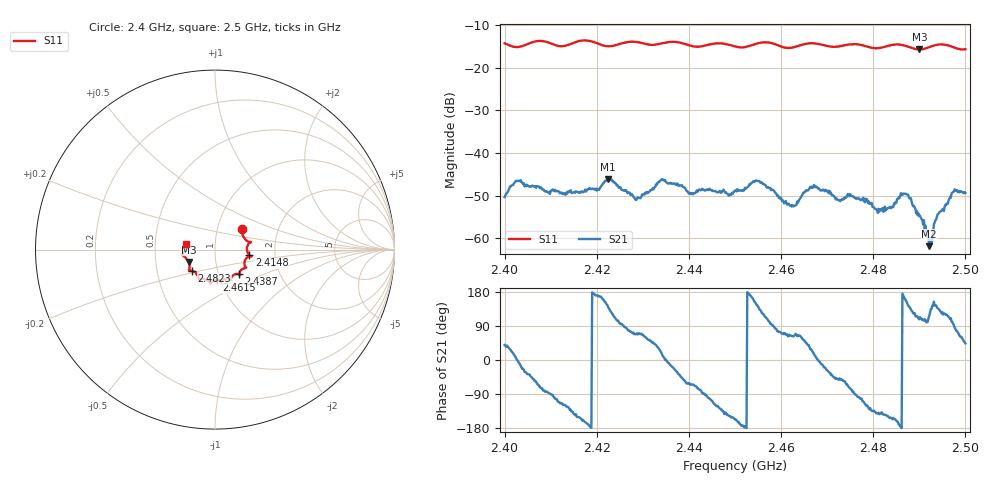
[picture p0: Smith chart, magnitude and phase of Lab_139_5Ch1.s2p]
# Hz S RI R 50
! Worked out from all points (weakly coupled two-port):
!   601 points, 2.4 GHz to 2.5 GHz, reference 50 ohm
!   highest |S21| = -46.10 dB at 2.4223 GHz (marker M1); lowest = -61.8 dB at 2.4922 GHz (marker M2)
!   lowest |S11| = -15.8 dB at 2.49 GHz (marker M3), VSWR 1.39, Z = 36.9 - j5.26 ohm
!   |S11| at or under -10 dB: start of sweep to end of sweep
!   S12 and S22 are empty: the file has one direction only
!   S11 on the Smith chart (normalised r, x): 2.4 GHz: 1.31, +0.32; 2.4148 GHz: 1.47, -0.10; 2.4387 GHz: 1.25, -0.36; 2.4615 GHz: 0.97, -0.34; 2.4823 GHz: 0.75, -0.18; 2.5 GHz: 0.72, +0.04
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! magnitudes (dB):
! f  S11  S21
! 2.4 GHz  -14.3  -50.3
! 2.403 GHz  -15.2  -46.5
! 2.4148 GHz  -14.3  -49.3
! 2.4167 GHz  -13.7  -48.9
! 2.4223 GHz  -15.0  -46.1
! 2.4288 GHz  -14.0  -50.4
! 2.4333 GHz  -14.5  -46.8
! 2.4387 GHz  -14.3  -47.9
! 2.4405 GHz  -14.9  -49.5
! 2.45 GHz  -15.0  -48.9
! 2.4548 GHz  -14.4  -46.5
! 2.4615 GHz  -15.4  -51.9
! 2.4628 GHz  -15.2  -52.5
! 2.4667 GHz  -14.3  -47.9
! 2.4823 GHz  -15.2  -53.7
! 2.4833 GHz  -14.9  -52.8
! 2.487 GHz  -14.9  -49.5
! 2.49 GHz  -15.8  -54.7
! 2.4922 GHz  -15.2  -61.8
! 2.4938 GHz  -14.7  -54.8
! 2.4972 GHz  -15.1  -49.3
! 2.5 GHz  -15.7  -49.3
